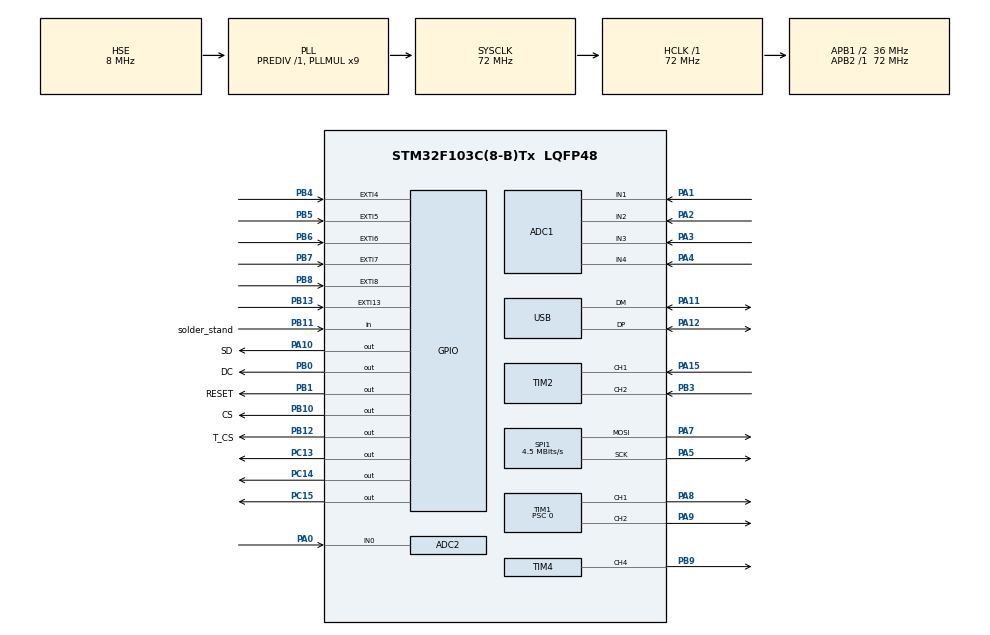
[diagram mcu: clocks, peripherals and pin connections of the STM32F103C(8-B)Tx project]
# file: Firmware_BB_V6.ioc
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ADC1.Channel-0\#ChannelRegularConversion=ADC_CHANNEL_1
ADC1.Channel-1\#ChannelRegularConversion=ADC_CHANNEL_2
ADC1.Channel-2\#ChannelRegularConversion=ADC_CHANNEL_3
ADC1.Channel-3\#ChannelRegularConversion=ADC_CHANNEL_4
ADC1.ContinuousConvMode=ENABLE
ADC1.ExternalTrigConv=ADC_SOFTWARE_START
ADC1.NbrOfConversion=4
ADC1.NbrOfConversionFlag=1
ADC1.Rank-0\#ChannelRegularConversion=1
ADC1.Rank-1\#ChannelRegularConversion=2
ADC1.Rank-2\#ChannelRegularConversion=3
ADC1.Rank-3\#ChannelRegularConversion=4
ADC1.SamplingTime-0\#ChannelRegularConversion=ADC_SAMPLETIME_71CYCLES_5
ADC1.SamplingTime-1\#ChannelRegularConversion=ADC_SAMPLETIME_71CYCLES_5
ADC1.SamplingTime-2\#ChannelRegularConversion=ADC_SAMPLETIME_71CYCLES_5
ADC1.SamplingTime-3\#ChannelRegularConversion=ADC_SAMPLETIME_71CYCLES_5
ADC1.master=1
ADC2.Channel-0\#ChannelRegularConversion=ADC_CHANNEL_0
ADC2.ContinuousConvMode=DISABLE
ADC2.NbrOfConversionFlag=1
ADC2.Rank-0\#ChannelRegularConversion=1
ADC2.SamplingTime-0\#ChannelRegularConversion=ADC_SAMPLETIME_71CYCLES_5
Dma.ADC1.0.Direction=DMA_PERIPH_TO_MEMORY
Dma.ADC1.0.Instance=DMA1_Channel1
Dma.ADC1.0.MemDataAlignment=DMA_MDATAALIGN_HALFWORD
Dma.ADC1.0.MemInc=DMA_MINC_ENABLE
Dma.ADC1.0.Mode=DMA_CIRCULAR
Dma.ADC1.0.PeriphDataAlignment=DMA_PDATAALIGN_HALFWORD
Dma.ADC1.0.PeriphInc=DMA_PINC_DISABLE
Dma.ADC1.0.Priority=DMA_PRIORITY_VERY_HIGH
Dma.Request0=ADC1
Mcu.Family=STM32F1
Mcu.Name=STM32F103C(8-B)Tx
Mcu.Package=LQFP48
NVIC.DMA1_Channel1_IRQn=true\:0\:0\:false\:false\:true\:false\:true\:true
NVIC.EXTI15_10_IRQn=true\:5\:0\:false\:false\:true\:true\:true\:true
NVIC.EXTI4_IRQn=true\:4\:0\:false\:false\:true\:true\:true\:true
NVIC.EXTI9_5_IRQn=true\:4\:0\:false\:false\:true\:true\:true\:true
NVIC.PriorityGroup=NVIC_PRIORITYGROUP_4
NVIC.TIM2_IRQn=true\:4\:0\:false\:false\:true\:true\:true\:true
NVIC.TIM3_IRQn=true\:0\:0\:false\:false\:true\:true\:true\:true
NVIC.USB_LP_CAN1_RX0_IRQn=true\:3\:0\:false\:false\:true\:false\:true\:true
PA0-WKUP.Signal=ADCx_IN0
PA1.Signal=ADCx_IN1
PA10.GPIO_Label=SD
PA10.Signal=GPIO_Output
PA11.Mode=Device
PA11.Signal=USB_DM
PA12.Mode=Device
PA12.Signal=USB_DP
PA13.Mode=Serial_Wire
PA13.Signal=SYS_JTMS-SWDIO
PA14.Mode=Serial_Wire
PA14.Signal=SYS_JTCK-SWCLK
PA15.Signal=S_TIM2_CH1_ETR
PA2.Signal=ADCx_IN2
PA3.Signal=ADCx_IN3
PA4.Signal=ADCx_IN4
PA5.Mode=TX_Only_Simplex_Unidirect_Master
PA5.Signal=SPI1_SCK
PA7.Mode=TX_Only_Simplex_Unidirect_Master
PA7.Signal=SPI1_MOSI
PA8.Signal=S_TIM1_CH1
PA9.Signal=S_TIM1_CH2
PB0.GPIO_Label=DC
PB0.Signal=GPIO_Output
PB1.GPIO_Label=RESET
PB1.Signal=GPIO_Output
PB10.GPIO_Label=CS
PB10.Signal=GPIO_Output
PB11.GPIO_Label=solder_stand
PB11.GPIO_PuPd=GPIO_PULLUP
PB11.Signal=GPIO_Input
PB12.GPIO_Label=T_CS
PB12.Signal=GPIO_Output
PB13.GPIO_ModeDefaultEXTI=GPIO_MODE_IT_RISING_FALLING
PB13.GPIO_PuPd=GPIO_PULLUP
PB13.Signal=GPXTI13
PB3.Signal=S_TIM2_CH2
PB4.GPIO_ModeDefaultEXTI=GPIO_MODE_IT_RISING_FALLING
PB4.GPIO_PuPd=GPIO_PULLUP
PB4.Signal=GPXTI4
PB5.GPIO_ModeDefaultEXTI=GPIO_MODE_IT_RISING_FALLING
PB5.GPIO_PuPd=GPIO_PULLUP
PB5.Signal=GPXTI5
PB6.GPIO_ModeDefaultEXTI=GPIO_MODE_IT_RISING_FALLING
PB6.GPIO_PuPd=GPIO_PULLUP
PB6.Signal=GPXTI6
PB7.GPIO_ModeDefaultEXTI=GPIO_MODE_IT_RISING_FALLING
PB7.GPIO_PuPd=GPIO_PULLUP
PB7.Signal=GPXTI7
PB8.Signal=GPXTI8
PB9.Signal=S_TIM4_CH4
PC13-TAMPER-RTC.Signal=GPIO_Output
PC14-OSC32_IN.Signal=GPIO_Output
PC15-OSC32_OUT.Signal=GPIO_Output
PD0-OSC_IN.Mode=HSE-External-Oscillator
PD0-OSC_IN.Signal=RCC_OSC_IN
PD1-OSC_OUT.Mode=HSE-External-Oscillator
PD1-OSC_OUT.Signal=RCC_OSC_OUT
ProjectManager.HeapSize=0x200
ProjectManager.StackSize=0xC00
ProjectManager.TargetToolchain=MDK-ARM V5.32
RCC.ADCPresc=RCC_ADCPCLK2_DIV6
RCC.AHBFreq_Value=72000000
RCC.APB1CLKDivider=RCC_HCLK_DIV2
RCC.APB1Freq_Value=36000000
RCC.APB1TimFreq_Value=72000000
RCC.APB2Freq_Value=72000000
RCC.APB2TimFreq_Value=72000000
RCC.HCLKFreq_Value=72000000
RCC.PLLMUL=RCC_PLL_MUL9
RCC.PLLSourceVirtual=RCC_PLLSOURCE_HSE
RCC.SYSCLKFreq_VALUE=72000000
RCC.SYSCLKSource=RCC_SYSCLKSOURCE_PLLCLK
RCC.USBFreq_Value=48000000
RCC.USBPrescaler=RCC_USBCLKSOURCE_PLL_DIV1_5
SH.ADCx_IN0.0=ADC2_IN0,IN0
SH.ADCx_IN1.0=ADC1_IN1,IN1
SH.ADCx_IN2.0=ADC1_IN2,IN2
SH.ADCx_IN3.0=ADC1_IN3,IN3
SH.ADCx_IN4.0=ADC1_IN4,IN4
SH.S_TIM1_CH1.0=TIM1_CH1,PWM Generation1 CH1
SH.S_TIM1_CH2.0=TIM1_CH2,PWM Generation2 CH2
SH.S_TIM2_CH1_ETR.0=TIM2_CH1,Encoder_Interface
SH.S_TIM2_CH2.0=TIM2_CH2,Encoder_Interface
SH.S_TIM4_CH4.0=TIM4_CH4,PWM Generation4 CH4
SPI1.BaudRatePrescaler=SPI_BAUDRATEPRESCALER_16
SPI1.CalculateBaudRate=4.5 MBits/s
SPI1.Direction=SPI_DIRECTION_2LINES
SPI1.Mode=SPI_MODE_MASTER
SPI1.VirtualType=VM_MASTER
TIM1.AutoReloadPreload=TIM_AUTORELOAD_PRELOAD_ENABLE
TIM1.Channel-PWM\ Generation1\ CH1=TIM_CHANNEL_1
TIM1.Channel-PWM\ Generation2\ CH2=TIM_CHANNEL_2
TIM1.OffStateIDLEMode=TIM_OSSI_ENABLE
TIM1.OffStateRunMode=TIM_OSSR_ENABLE
TIM1.Period=3599
TIM1.Prescaler=0
TIM2.EncoderMode=TIM_ENCODERMODE_TI12
TIM2.IC1Filter=8
TIM2.IC2Filter=8
TIM3.AutoReloadPreload=TIM_AUTORELOAD_PRELOAD_ENABLE
TIM3.Period=499
TIM3.Prescaler=71
TIM4.Channel-PWM\ Generation4\ CH4=TIM_CHANNEL_4
TIM4.Period=7199
TIM4.Prescaler=0
USB_DEVICE.CLASS_NAME_FS=CDC
USB_DEVICE.VirtualMode=Cdc
USB_DEVICE.VirtualModeFS=Cdc_FS
VP_TIM1_VS_ClockSourceINT.Mode=Internal
VP_TIM3_VS_ClockSourceINT.Mode=Internal
VP_TIM4_VS_ClockSourceINT.Mode=Internal
VP_USB_DEVICE_VS_USB_DEVICE_CDC_FS.Mode=CDC_FS
board=custom

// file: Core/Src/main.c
/* USER CODE BEGIN Header */
/**
  ******************************************************************************
  * @file           : main.c
  * @brief          : Main program body
  ******************************************************************************
  * @attention
  *
  * Copyright (c) 2026 STMicroelectronics.
  * All rights reserved.
  *
  * This software is licensed under terms that can be found in the LICENSE file
  * in the root directory of this software component.
  * If no LICENSE file comes with this software, it is provided AS-IS.
  *
  ******************************************************************************
  */
/* USER CODE END Header */
#include "main.h"
#include "usb_device.h"

/* USER CODE BEGIN Includes */
#include "power_stage.h"

#include "analog_monitor.h"

#include "input_ui_port.h"
#include "input_buttons.h"
#include "input_encoder.h"
#include "ui_lcd.h"

#include "psu_link.h"
#include "psu_usb.h"
/* USER CODE END Includes */

ADC_HandleTypeDef hadc1;
ADC_HandleTypeDef hadc2;
DMA_HandleTypeDef hdma_adc1;

SPI_HandleTypeDef hspi1;

TIM_HandleTypeDef htim1;
TIM_HandleTypeDef htim2;
TIM_HandleTypeDef htim3;
TIM_HandleTypeDef htim4;

void SystemClock_Config(void);
static void MX_GPIO_Init(void);
static void MX_DMA_Init(void);
static void MX_ADC1_Init(void);
static void MX_ADC2_Init(void);
static void MX_SPI1_Init(void);
static void MX_TIM1_Init(void);
static void MX_TIM2_Init(void);
static void MX_TIM3_Init(void);
static void MX_TIM4_Init(void);

int main(void)
{

  /* MCU Configuration--------------------------------------------------------*/

  /* Reset of all peripherals, Initializes the Flash interface and the Systick. */
  HAL_Init();

  /* Configure the system clock */
  SystemClock_Config();

  /* Initialize all configured peripherals */
  MX_GPIO_Init();
  MX_DMA_Init();
  MX_ADC1_Init();
  MX_ADC2_Init();
  MX_SPI1_Init();
  MX_TIM1_Init();
  MX_TIM2_Init();
  MX_USB_DEVICE_Init();
  MX_TIM3_Init();
  MX_TIM4_Init();
  /* USER CODE BEGIN 2 */

if (InputUI_Init() != HAL_OK) { Error_Handler(); }

if (AnalogMonitor_Init(&hadc1, &hadc2) != HAL_OK) { Error_Handler(); }

/* Keep USB/UI alive with /SD LOW if power-stage initialization fails.
 * GET DIAG reports the exact failing step and timer registers. */
if (PowerStage_Init(&htim1, &htim3) == HAL_OK) {
    if (HAL_TIM_Base_Start_IT(&htim3) != HAL_OK) PowerStage_ControlStartFailed();
}

PSU_Link_Init(PSU_USB_TryWrite);
/* USER CODE END 2 */

  /* Infinite loop */
  while (1)
  {

    /* USER CODE BEGIN 3 */
    AnalogMonitor_Handle();
    encoder_hander();
    button_handle();
    PowerStage_Handle();
    LCD_run();
		PSU_Link_Poll();
  }

/* USER CODE END 3 */
}

void SystemClock_Config(void)
{
  RCC_OscInitTypeDef RCC_OscInitStruct = {0};
  RCC_ClkInitTypeDef RCC_ClkInitStruct = {0};
  RCC_PeriphCLKInitTypeDef PeriphClkInit = {0};

  /** Initializes the RCC Oscillators according to the specified parameters
  * in the RCC_OscInitTypeDef structure.
  */
  RCC_OscInitStruct.OscillatorType = RCC_OSCILLATORTYPE_HSE;
  RCC_OscInitStruct.HSEState = RCC_HSE_ON;
  RCC_OscInitStruct.HSEPredivValue = RCC_HSE_PREDIV_DIV1;
  RCC_OscInitStruct.HSIState = RCC_HSI_ON;
  RCC_OscInitStruct.PLL.PLLState = RCC_PLL_ON;
  RCC_OscInitStruct.PLL.PLLSource = RCC_PLLSOURCE_HSE;
  RCC_OscInitStruct.PLL.PLLMUL = RCC_PLL_MUL9;
  if (HAL_RCC_OscConfig(&RCC_OscInitStruct) != HAL_OK)
  {
    Error_Handler();
  }

  /** Initializes the CPU, AHB and APB buses clocks
  */
  RCC_ClkInitStruct.ClockType = RCC_CLOCKTYPE_HCLK|RCC_CLOCKTYPE_SYSCLK
                              |RCC_CLOCKTYPE_PCLK1|RCC_CLOCKTYPE_PCLK2;
  RCC_ClkInitStruct.SYSCLKSource = RCC_SYSCLKSOURCE_PLLCLK;
  RCC_ClkInitStruct.AHBCLKDivider = RCC_SYSCLK_DIV1;
  RCC_ClkInitStruct.APB1CLKDivider = RCC_HCLK_DIV2;
  RCC_ClkInitStruct.APB2CLKDivider = RCC_HCLK_DIV1;

  if (HAL_RCC_ClockConfig(&RCC_ClkInitStruct, FLASH_LATENCY_2) != HAL_OK)
  {
    Error_Handler();
  }
  PeriphClkInit.PeriphClockSelection = RCC_PERIPHCLK_ADC|RCC_PERIPHCLK_USB;
  PeriphClkInit.AdcClockSelection = RCC_ADCPCLK2_DIV6;
  PeriphClkInit.UsbClockSelection = RCC_USBCLKSOURCE_PLL_DIV1_5;
  if (HAL_RCCEx_PeriphCLKConfig(&PeriphClkInit) != HAL_OK)
  {
    Error_Handler();
  }
}

static void MX_ADC1_Init(void)
{

  ADC_ChannelConfTypeDef sConfig = {0};

  /** Common config
  */
  hadc1.Instance = ADC1;
  hadc1.Init.ScanConvMode = ADC_SCAN_ENABLE;
  hadc1.Init.ContinuousConvMode = ENABLE;
  hadc1.Init.DiscontinuousConvMode = DISABLE;
  hadc1.Init.ExternalTrigConv = ADC_SOFTWARE_START;
  hadc1.Init.DataAlign = ADC_DATAALIGN_RIGHT;
  hadc1.Init.NbrOfConversion = 4;
  if (HAL_ADC_Init(&hadc1) != HAL_OK)
  {
    Error_Handler();
  }

  /** Configure Regular Channel
  */
  sConfig.Channel = ADC_CHANNEL_1;
  sConfig.Rank = ADC_REGULAR_RANK_1;
  sConfig.SamplingTime = ADC_SAMPLETIME_71CYCLES_5;
  if (HAL_ADC_ConfigChannel(&hadc1, &sConfig) != HAL_OK)
  {
    Error_Handler();
  }

  /** Configure Regular Channel
  */
  sConfig.Channel = ADC_CHANNEL_2;
  sConfig.Rank = ADC_REGULAR_RANK_2;
  if (HAL_ADC_ConfigChannel(&hadc1, &sConfig) != HAL_OK)
  {
    Error_Handler();
  }

  /** Configure Regular Channel
  */
  sConfig.Channel = ADC_CHANNEL_3;
  sConfig.Rank = ADC_REGULAR_RANK_3;
  if (HAL_ADC_ConfigChannel(&hadc1, &sConfig) != HAL_OK)
  {
    Error_Handler();
  }

  /** Configure Regular Channel
  */
  sConfig.Channel = ADC_CHANNEL_4;
  sConfig.Rank = ADC_REGULAR_RANK_4;
  if (HAL_ADC_ConfigChannel(&hadc1, &sConfig) != HAL_OK)
  {
    Error_Handler();
  }

}

static void MX_ADC2_Init(void)
{

  ADC_ChannelConfTypeDef sConfig = {0};

  /** Common config
  */
  hadc2.Instance = ADC2;
  hadc2.Init.ScanConvMode = ADC_SCAN_DISABLE;
  hadc2.Init.ContinuousConvMode = DISABLE;
  hadc2.Init.DiscontinuousConvMode = DISABLE;
  hadc2.Init.ExternalTrigConv = ADC_SOFTWARE_START;
  hadc2.Init.DataAlign = ADC_DATAALIGN_RIGHT;
  hadc2.Init.NbrOfConversion = 1;
  if (HAL_ADC_Init(&hadc2) != HAL_OK)
  {
    Error_Handler();
  }

  /** Configure Regular Channel
  */
  sConfig.Channel = ADC_CHANNEL_0;
  sConfig.Rank = ADC_REGULAR_RANK_1;
  sConfig.SamplingTime = ADC_SAMPLETIME_71CYCLES_5;
  if (HAL_ADC_ConfigChannel(&hadc2, &sConfig) != HAL_OK)
  {
    Error_Handler();
  }

}

static void MX_SPI1_Init(void)
{

  /* SPI1 parameter configuration*/
  hspi1.Instance = SPI1;
  hspi1.Init.Mode = SPI_MODE_MASTER;
  hspi1.Init.Direction = SPI_DIRECTION_2LINES;
  hspi1.Init.DataSize = SPI_DATASIZE_8BIT;
  hspi1.Init.CLKPolarity = SPI_POLARITY_LOW;
  hspi1.Init.CLKPhase = SPI_PHASE_1EDGE;
  hspi1.Init.NSS = SPI_NSS_SOFT;
  hspi1.Init.BaudRatePrescaler = SPI_BAUDRATEPRESCALER_16;
  hspi1.Init.FirstBit = SPI_FIRSTBIT_MSB;
  hspi1.Init.TIMode = SPI_TIMODE_DISABLE;
  hspi1.Init.CRCCalculation = SPI_CRCCALCULATION_DISABLE;
  hspi1.Init.CRCPolynomial = 10;
  if (HAL_SPI_Init(&hspi1) != HAL_OK)
  {
    Error_Handler();
  }

}

static void MX_TIM1_Init(void)
{

  TIM_ClockConfigTypeDef sClockSourceConfig = {0};
  TIM_MasterConfigTypeDef sMasterConfig = {0};
  TIM_OC_InitTypeDef sConfigOC = {0};
  TIM_BreakDeadTimeConfigTypeDef sBreakDeadTimeConfig = {0};

  htim1.Instance = TIM1;
  htim1.Init.Prescaler = 0;
  htim1.Init.CounterMode = TIM_COUNTERMODE_UP;
  htim1.Init.Period = 3599;
  htim1.Init.ClockDivision = TIM_CLOCKDIVISION_DIV1;
  htim1.Init.RepetitionCounter = 0;
  htim1.Init.AutoReloadPreload = TIM_AUTORELOAD_PRELOAD_ENABLE;
  if (HAL_TIM_Base_Init(&htim1) != HAL_OK)
  {
    Error_Handler();
  }
  sClockSourceConfig.ClockSource = TIM_CLOCKSOURCE_INTERNAL;
  if (HAL_TIM_ConfigClockSource(&htim1, &sClockSourceConfig) != HAL_OK)
  {
    Error_Handler();
  }
  if (HAL_TIM_PWM_Init(&htim1) != HAL_OK)
  {
    Error_Handler();
  }
  sMasterConfig.MasterOutputTrigger = TIM_TRGO_RESET;
  sMasterConfig.MasterSlaveMode = TIM_MASTERSLAVEMODE_DISABLE;
  if (HAL_TIMEx_MasterConfigSynchronization(&htim1, &sMasterConfig) != HAL_OK)
  {
    Error_Handler();
  }
  sConfigOC.OCMode = TIM_OCMODE_PWM1;
  sConfigOC.Pulse = 0;
  sConfigOC.OCPolarity = TIM_OCPOLARITY_HIGH;
  sConfigOC.OCNPolarity = TIM_OCNPOLARITY_HIGH;
  sConfigOC.OCFastMode = TIM_OCFAST_DISABLE;
  sConfigOC.OCIdleState = TIM_OCIDLESTATE_RESET;
  sConfigOC.OCNIdleState = TIM_OCNIDLESTATE_RESET;
  if (HAL_TIM_PWM_ConfigChannel(&htim1, &sConfigOC, TIM_CHANNEL_1) != HAL_OK)
  {
    Error_Handler();
  }
  if (HAL_TIM_PWM_ConfigChannel(&htim1, &sConfigOC, TIM_CHANNEL_2) != HAL_OK)
  {
    Error_Handler();
  }
  sBreakDeadTimeConfig.OffStateRunMode = TIM_OSSR_ENABLE;
  sBreakDeadTimeConfig.OffStateIDLEMode = TIM_OSSI_ENABLE;
  sBreakDeadTimeConfig.LockLevel = TIM_LOCKLEVEL_OFF;
  sBreakDeadTimeConfig.DeadTime = 0;
  sBreakDeadTimeConfig.BreakState = TIM_BREAK_DISABLE;
  sBreakDeadTimeConfig.BreakPolarity = TIM_BREAKPOLARITY_HIGH;
  sBreakDeadTimeConfig.AutomaticOutput = TIM_AUTOMATICOUTPUT_DISABLE;
  if (HAL_TIMEx_ConfigBreakDeadTime(&htim1, &sBreakDeadTimeConfig) != HAL_OK)
  {
    Error_Handler();
  }
  HAL_TIM_MspPostInit(&htim1);

}

static void MX_TIM2_Init(void)
{

  TIM_Encoder_InitTypeDef sConfig = {0};
  TIM_MasterConfigTypeDef sMasterConfig = {0};

  htim2.Instance = TIM2;
  htim2.Init.Prescaler = 0;
  htim2.Init.CounterMode = TIM_COUNTERMODE_UP;
  htim2.Init.Period = 65535;
  htim2.Init.ClockDivision = TIM_CLOCKDIVISION_DIV1;
  htim2.Init.AutoReloadPreload = TIM_AUTORELOAD_PRELOAD_DISABLE;
  sConfig.EncoderMode = TIM_ENCODERMODE_TI12;
  sConfig.IC1Polarity = TIM_ICPOLARITY_RISING;
  sConfig.IC1Selection = TIM_ICSELECTION_DIRECTTI;
  sConfig.IC1Prescaler = TIM_ICPSC_DIV1;
  sConfig.IC1Filter = 8;
  sConfig.IC2Polarity = TIM_ICPOLARITY_RISING;
  sConfig.IC2Selection = TIM_ICSELECTION_DIRECTTI;
  sConfig.IC2Prescaler = TIM_ICPSC_DIV1;
  sConfig.IC2Filter = 8;
  if (HAL_TIM_Encoder_Init(&htim2, &sConfig) != HAL_OK)
  {
    Error_Handler();
  }
  sMasterConfig.MasterOutputTrigger = TIM_TRGO_RESET;
  sMasterConfig.MasterSlaveMode = TIM_MASTERSLAVEMODE_DISABLE;
  if (HAL_TIMEx_MasterConfigSynchronization(&htim2, &sMasterConfig) != HAL_OK)
  {
    Error_Handler();
  }

}

static void MX_TIM3_Init(void)
{

  TIM_ClockConfigTypeDef sClockSourceConfig = {0};
  TIM_MasterConfigTypeDef sMasterConfig = {0};

  htim3.Instance = TIM3;
  htim3.Init.Prescaler = 71;
  htim3.Init.CounterMode = TIM_COUNTERMODE_UP;
  htim3.Init.Period = 499;
  htim3.Init.ClockDivision = TIM_CLOCKDIVISION_DIV1;
  htim3.Init.AutoReloadPreload = TIM_AUTORELOAD_PRELOAD_ENABLE;
  if (HAL_TIM_Base_Init(&htim3) != HAL_OK)
  {
    Error_Handler();
  }
  sClockSourceConfig.ClockSource = TIM_CLOCKSOURCE_INTERNAL;
  if (HAL_TIM_ConfigClockSource(&htim3, &sClockSourceConfig) != HAL_OK)
  {
    Error_Handler();
  }
  sMasterConfig.MasterOutputTrigger = TIM_TRGO_RESET;
  sMasterConfig.MasterSlaveMode = TIM_MASTERSLAVEMODE_DISABLE;
  if (HAL_TIMEx_MasterConfigSynchronization(&htim3, &sMasterConfig) != HAL_OK)
  {
    Error_Handler();
  }

}

static void MX_TIM4_Init(void)
{

  TIM_ClockConfigTypeDef sClockSourceConfig = {0};
  TIM_MasterConfigTypeDef sMasterConfig = {0};
  TIM_OC_InitTypeDef sConfigOC = {0};

  htim4.Instance = TIM4;
  htim4.Init.Prescaler = 0;
  htim4.Init.CounterMode = TIM_COUNTERMODE_UP;
  htim4.Init.Period = 7199;
  htim4.Init.ClockDivision = TIM_CLOCKDIVISION_DIV1;
  htim4.Init.AutoReloadPreload = TIM_AUTORELOAD_PRELOAD_DISABLE;
  if (HAL_TIM_Base_Init(&htim4) != HAL_OK)
  {
    Error_Handler();
  }
  sClockSourceConfig.ClockSource = TIM_CLOCKSOURCE_INTERNAL;
  if (HAL_TIM_ConfigClockSource(&htim4, &sClockSourceConfig) != HAL_OK)
  {
    Error_Handler();
  }
  if (HAL_TIM_PWM_Init(&htim4) != HAL_OK)
  {
    Error_Handler();
  }
  sMasterConfig.MasterOutputTrigger = TIM_TRGO_RESET;
  sMasterConfig.MasterSlaveMode = TIM_MASTERSLAVEMODE_DISABLE;
  if (HAL_TIMEx_MasterConfigSynchronization(&htim4, &sMasterConfig) != HAL_OK)
  {
    Error_Handler();
  }
  sConfigOC.OCMode = TIM_OCMODE_PWM1;
  sConfigOC.Pulse = 0;
  sConfigOC.OCPolarity = TIM_OCPOLARITY_HIGH;
  sConfigOC.OCFastMode = TIM_OCFAST_DISABLE;
  if (HAL_TIM_PWM_ConfigChannel(&htim4, &sConfigOC, TIM_CHANNEL_4) != HAL_OK)
  {
    Error_Handler();
  }
  HAL_TIM_MspPostInit(&htim4);

}

static void MX_DMA_Init(void)
{

  /* DMA controller clock enable */
  __HAL_RCC_DMA1_CLK_ENABLE();

  /* DMA interrupt init */
  /* DMA1_Channel1_IRQn interrupt configuration */
  HAL_NVIC_SetPriority(DMA1_Channel1_IRQn, 0, 0);
  HAL_NVIC_EnableIRQ(DMA1_Channel1_IRQn);

}

static void MX_GPIO_Init(void)
{
  GPIO_InitTypeDef GPIO_InitStruct = {0};

  /* GPIO Ports Clock Enable */
  __HAL_RCC_GPIOC_CLK_ENABLE();
  __HAL_RCC_GPIOD_CLK_ENABLE();
  __HAL_RCC_GPIOA_CLK_ENABLE();
  __HAL_RCC_GPIOB_CLK_ENABLE();

  /*Configure GPIO pin Output Level */
  HAL_GPIO_WritePin(GPIOC, GPIO_PIN_13|GPIO_PIN_14|GPIO_PIN_15, GPIO_PIN_RESET);

  /*Configure GPIO pin Output Level */
  HAL_GPIO_WritePin(GPIOB, DC_Pin|RESET_Pin|CS_Pin|T_CS_Pin, GPIO_PIN_RESET);

  /*Configure GPIO pin Output Level */
  HAL_GPIO_WritePin(SD_GPIO_Port, SD_Pin, GPIO_PIN_RESET);

  /*Configure GPIO pins : PC13 PC14 PC15 */
  GPIO_InitStruct.Pin = GPIO_PIN_13|GPIO_PIN_14|GPIO_PIN_15;
  GPIO_InitStruct.Mode = GPIO_MODE_OUTPUT_PP;
  GPIO_InitStruct.Pull = GPIO_NOPULL;
  GPIO_InitStruct.Speed = GPIO_SPEED_FREQ_LOW;
  HAL_GPIO_Init(GPIOC, &GPIO_InitStruct);

  /*Configure GPIO pins : DC_Pin RESET_Pin CS_Pin T_CS_Pin */
  GPIO_InitStruct.Pin = DC_Pin|RESET_Pin|CS_Pin|T_CS_Pin;
  GPIO_InitStruct.Mode = GPIO_MODE_OUTPUT_PP;
  GPIO_InitStruct.Pull = GPIO_NOPULL;
  GPIO_InitStruct.Speed = GPIO_SPEED_FREQ_LOW;
  HAL_GPIO_Init(GPIOB, &GPIO_InitStruct);

  /*Configure GPIO pin : solder_stand_Pin */
  GPIO_InitStruct.Pin = solder_stand_Pin;
  GPIO_InitStruct.Mode = GPIO_MODE_INPUT;
  GPIO_InitStruct.Pull = GPIO_PULLUP;
  HAL_GPIO_Init(solder_stand_GPIO_Port, &GPIO_InitStruct);

  /*Configure GPIO pins : PB13 PB4 PB5 PB6
                           PB7 */
  GPIO_InitStruct.Pin = GPIO_PIN_13|GPIO_PIN_4|GPIO_PIN_5|GPIO_PIN_6
                          |GPIO_PIN_7;
  GPIO_InitStruct.Mode = GPIO_MODE_IT_RISING_FALLING;
  GPIO_InitStruct.Pull = GPIO_PULLUP;
  HAL_GPIO_Init(GPIOB, &GPIO_InitStruct);

  /*Configure GPIO pin : SD_Pin */
  GPIO_InitStruct.Pin = SD_Pin;
  GPIO_InitStruct.Mode = GPIO_MODE_OUTPUT_PP;
  GPIO_InitStruct.Pull = GPIO_NOPULL;
  GPIO_InitStruct.Speed = GPIO_SPEED_FREQ_LOW;
  HAL_GPIO_Init(SD_GPIO_Port, &GPIO_InitStruct);

  /*Configure GPIO pin : PB8 */
  GPIO_InitStruct.Pin = GPIO_PIN_8;
  GPIO_InitStruct.Mode = GPIO_MODE_IT_RISING;
  GPIO_InitStruct.Pull = GPIO_NOPULL;
  HAL_GPIO_Init(GPIOB, &GPIO_InitStruct);

  /* EXTI interrupt init*/
  HAL_NVIC_SetPriority(EXTI4_IRQn, 4, 0);
  HAL_NVIC_EnableIRQ(EXTI4_IRQn);

  HAL_NVIC_SetPriority(EXTI9_5_IRQn, 4, 0);
  HAL_NVIC_EnableIRQ(EXTI9_5_IRQn);

  HAL_NVIC_SetPriority(EXTI15_10_IRQn, 5, 0);
  HAL_NVIC_EnableIRQ(EXTI15_10_IRQn);

}

/* USER CODE BEGIN 4 */

void HAL_ADC_ConvHalfCpltCallback(ADC_HandleTypeDef *hadc)
{
    AnalogMonitor_AdcHalfComplete(hadc);
}

void HAL_ADC_ConvCpltCallback(ADC_HandleTypeDef *hadc)
{
    AnalogMonitor_AdcComplete(hadc);
}

void HAL_TIM_PeriodElapsedCallback(TIM_HandleTypeDef *htim)
{
    PowerStage_TIM3_Callback(htim);
}
/* USER CODE END 4 */

void Error_Handler(void)
{
  /* USER CODE BEGIN Error_Handler_Debug */
  /* User can add his own implementation to report the HAL error return state */
  PowerStage_EmergencyDisable();
  __disable_irq();
  while (1)
  {
  }
  /* USER CODE END Error_Handler_Debug */
}
